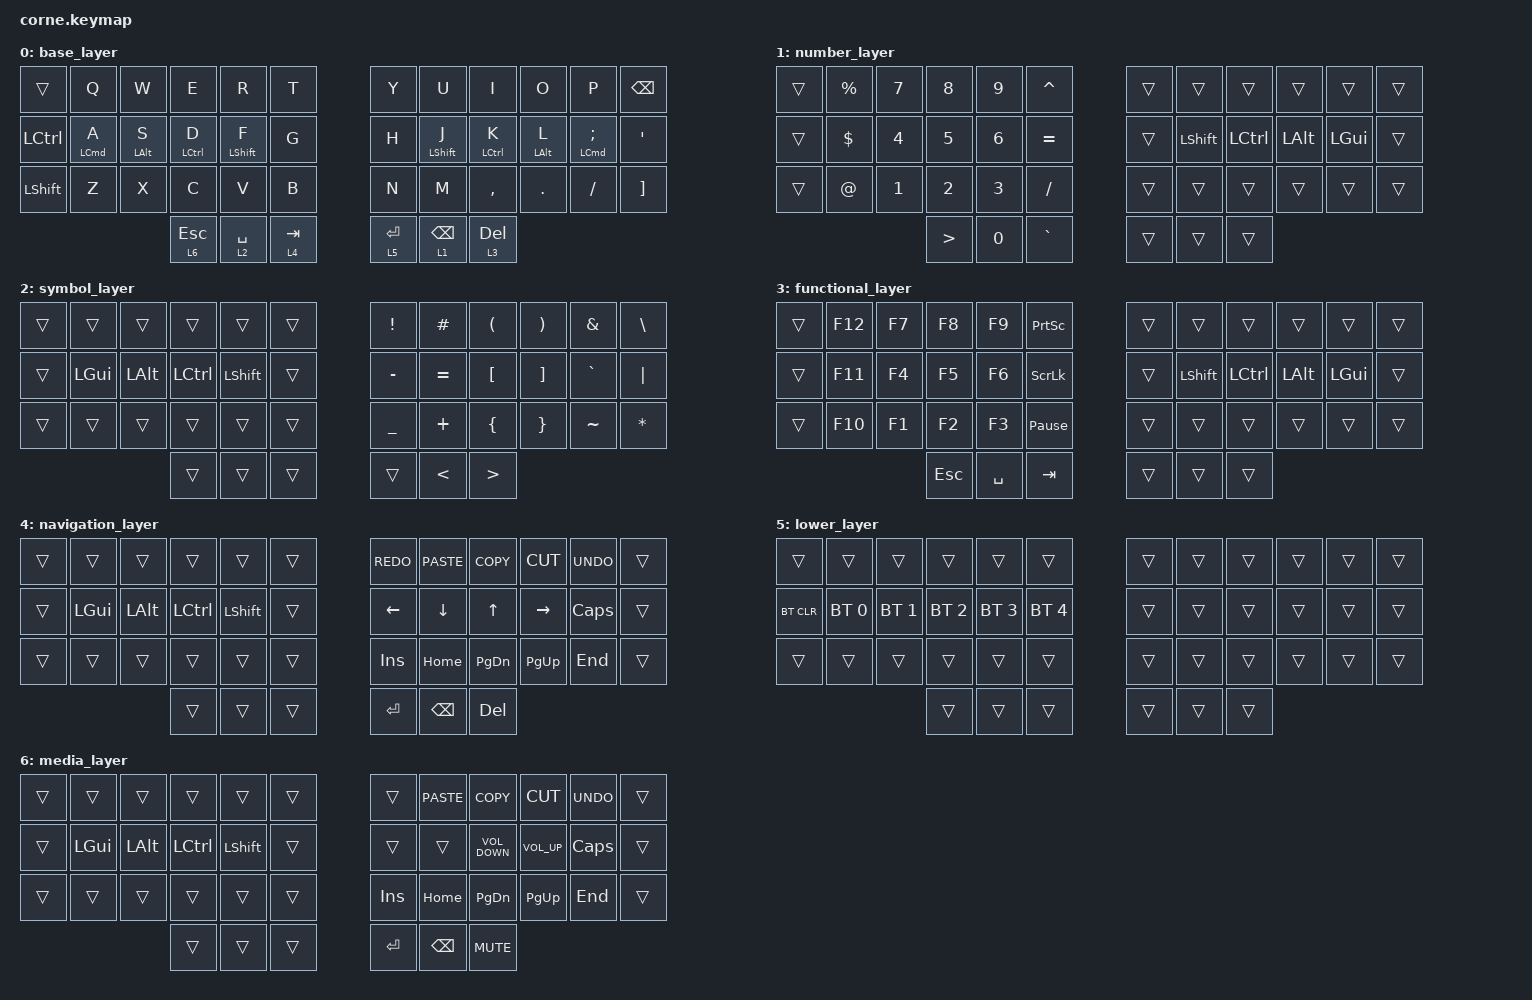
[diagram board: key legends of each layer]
/*
 * Copyright (c) 2020 The ZMK Contributors
 *
 * SPDX-License-Identifier: MIT
 */

#include <behaviors.dtsi>
#include <dt-bindings/zmk/bt.h>
#include <dt-bindings/zmk/keys.h>

/ {
    combos {
        compatible = "zmk,combos";

        combo_esc {
            timeout-ms = <50>;
            key-positions = <0 1>;
            bindings = <&kp ESC>;
        };
    };

    behaviors {
        ss_hs_modmorph: ss_hs_modmorph {
            compatible = "zmk,behavior-mod-morph";
            label = "SS_HS_MODMORPH";
            bindings = <&kp M>, <&kp RIGHT_BRACKET>;

            #binding-cells = <0>;
            mods = <(MOD_LSFT|MOD_RSFT)>;
        };

        kh_hs_tapdance: kh_hs_tapdance {
            compatible = "zmk,behavior-tap-dance";
            label = "KH_HS_TAPDANCE";
            #binding-cells = <0>;
            tapping-term-ms = <200>;
            bindings = <&kp LEFT_BRACKET>, <&kp RIGHT_BRACKET>;
        };

        hrm: hrm {
            compatible = "zmk,behavior-hold-tap";
            #binding-cells = <2>;
            flavor = "tap-preferred";
            tapping-term-ms = <200>;
            quick-tap-ms = <200>;
            require-prior-idle-ms = <125>;
            bindings = <&kp>, <&kp>;
        };
    };

    keymap {
        compatible = "zmk,keymap";

        base_layer {
            // -----------------------------------------------------------------------------------------
            // |  TAB |  Q  |  W  |  E  |  R  |  T  |   |  Y  |  U   |  I  |  O  |  P  | BKSP |
            // | CTRL |  A  |  S  |  D  |  F  |  G  |   |  H  |  J   |  K  |  L  |  ;  |  '   |
            // | SHFT |  Z  |  X  |  C  |  V  |  B  |   |  N  |  M   |  ,  |  .  |  /  | ESC  |
            //                    | GUI | LWR | SPC |   | ENT | RSE  | ALT |

            bindings = <
&trans     &kp Q               &kp W           &kp E               &kp R             &kp T        &kp Y        &kp U            &kp I               &kp O           &kp P                  &kp BACKSPACE
&kp LCTRL  &mt LEFT_COMMAND A  &mt LEFT_ALT S  &mt LEFT_CONTROL D  &mt LEFT_SHIFT F  &kp G        &kp H        &mt LSHFT J      &mt LEFT_CONTROL K  &mt LEFT_ALT L  &mt LEFT_COMMAND SEMI  &kp SQT
&kp LSHFT  &kp Z               &kp X           &kp C               &kp V             &kp B        &kp N        &kp M            &kp COMMA           &kp DOT         &kp FSLH               &kp RIGHT_BRACKET
                                               &lt 6 ESCAPE        &lt 2 SPACE       &lt 4 TAB    &lt 5 ENTER  &lt 1 BACKSPACE  &lt 3 DELETE
            >;
        };

        number_layer {
            bindings = <
&trans  &kp PERCENT  &kp N7  &kp N8            &kp N9  &kp CARET    &trans  &trans     &trans     &trans    &trans    &trans
&trans  &kp DOLLAR   &kp N4  &kp N5            &kp N6  &kp EQUAL    &trans  &kp LSHFT  &kp LCTRL  &kp LALT  &kp LGUI  &trans
&trans  &kp AT_SIGN  &kp N1  &kp N2            &kp N3  &kp FSLH     &trans  &trans     &trans     &trans    &trans    &trans
                             &kp GREATER_THAN  &kp N0  &kp GRAVE    &trans  &trans     &trans
            >;
        };

        symbol_layer {
            bindings = <
&trans  &trans    &trans    &trans     &trans     &trans    &kp EXCL   &kp HASH       &kp LEFT_PARENTHESIS  &kp RIGHT_PARENTHESIS  &kp AMPERSAND  &kp BACKSLASH
&trans  &kp LGUI  &kp LALT  &kp LCTRL  &kp LSHFT  &trans    &kp MINUS  &kp EQUAL      &kp LEFT_BRACKET      &kp RIGHT_BRACKET      &kp GRAVE      &kp PIPE
&trans  &trans    &trans    &trans     &trans     &trans    &kp UNDER  &kp PLUS       &kp LEFT_BRACE        &kp RIGHT_BRACE        &kp TILDE      &kp STAR
                            &trans     &trans     &trans    &trans     &kp LESS_THAN  &kp GREATER_THAN
            >;
        };

        functional_layer {
            bindings = <
&trans  &kp F12  &kp F7  &kp F8   &kp F9     &kp PRINTSCREEN    &trans  &trans     &trans     &trans    &trans    &trans
&trans  &kp F11  &kp F4  &kp F5   &kp F6     &kp SCROLLLOCK     &trans  &kp LSHFT  &kp LCTRL  &kp LALT  &kp LGUI  &trans
&trans  &kp F10  &kp F1  &kp F2   &kp F3     &kp PAUSE_BREAK    &trans  &trans     &trans     &trans    &trans    &trans
                         &kp ESC  &kp SPACE  &kp TAB            &trans  &trans     &trans
            >;
        };

        navigation_layer {
            bindings = <
&trans  &trans    &trans    &trans     &trans     &trans    &kp K_REDO      &kp K_PASTE     &kp K_COPY     &kp K_CUT        &kp K_UNDO    &trans
&trans  &kp LGUI  &kp LALT  &kp LCTRL  &kp LSHFT  &trans    &kp LEFT_ARROW  &kp DOWN_ARROW  &kp UP_ARROW   &kp RIGHT_ARROW  &kp CAPSLOCK  &trans
&trans  &trans    &trans    &trans     &trans     &trans    &kp INSERT      &kp HOME        &kp PAGE_DOWN  &kp PAGE_UP      &kp END       &trans
                            &trans     &trans     &trans    &kp ENTER       &kp BSPC        &kp DELETE
            >;
        };

        lower_layer {
            // -----------------------------------------------------------------------------------------
            // |  TAB |  1  |  2  |  3  |  4  |  5  |   |  6  |  7  |  8  |  9  |  0  | BKSP |
            // | BTCLR| BT1 | BT2 | BT3 | BT4 | BT5 |   | LFT | DWN |  UP | RGT |     |      |
            // | SHFT |     |     |     |     |     |   |     |     |     |     |     |      |
            //                    | GUI |     | SPC |   | ENT |     | ALT |

            bindings = <
&trans      &trans        &trans        &trans        &trans        &trans          &trans  &trans  &trans  &trans  &trans  &trans
&bt BT_CLR  &bt BT_SEL 0  &bt BT_SEL 1  &bt BT_SEL 2  &bt BT_SEL 3  &bt BT_SEL 4    &trans  &trans  &trans  &trans  &trans  &trans
&trans      &trans        &trans        &trans        &trans        &trans          &trans  &trans  &trans  &trans  &trans  &trans
                                        &trans        &trans        &trans          &trans  &trans  &trans
            >;
        };

        media_layer {
            bindings = <
&trans  &trans    &trans    &trans     &trans     &trans    &trans      &kp K_PASTE  &kp K_COPY         &kp K_CUT        &kp K_UNDO    &trans
&trans  &kp LGUI  &kp LALT  &kp LCTRL  &kp LSHFT  &trans    &trans      &trans       &kp C_VOLUME_DOWN  &kp C_VOLUME_UP  &kp CAPSLOCK  &trans
&trans  &trans    &trans    &trans     &trans     &trans    &kp INSERT  &kp HOME     &kp PAGE_DOWN      &kp PAGE_UP      &kp END       &trans
                            &trans     &trans     &trans    &kp ENTER   &kp BSPC     &kp C_MUTE
            >;
        };
    };
};
